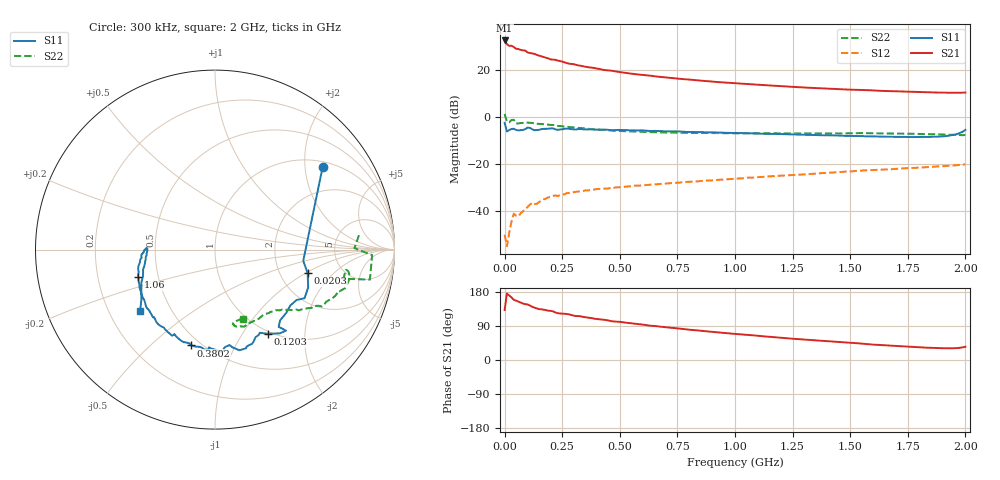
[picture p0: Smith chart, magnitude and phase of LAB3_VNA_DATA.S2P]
!Agilent Technologies,E5071C,MY46520295,B.13.20
!Date: Wed Mar 06 06:46:55 2024
!Data & Calibration Information:
!Freq	S11:SOLT2(ON)	S21:SOLT2(ON)	S12:SOLT2(ON)	S22:SOLT2(ON)
!PortZ  Port1:50+j0  Port2:50+j0
!Above PortZ is port z conversion or system Z0 setting when saving the data.
!When reading, reference impedance value at option line is always used.
# Hz S RI R 50
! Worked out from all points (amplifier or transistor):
!   201 points, 300 kHz to 2 GHz, reference 50 ohm
!   highest |S21| = 32.8 dB at 300 kHz (marker M1)
!   |S21| within 3 dB of that: start of sweep to 42.59 MHz
!   unconditionally stable (mu >= 1): 7.426 MHz to 24.06 MHz; 50.27 MHz to 50.61 MHz; 629.6 MHz to end of sweep
!   at 330.3 MHz: K = 0.71, MSG = 26.9 dB, |S12| = -31.7 dB
!   at 1 GHz: K = 1.19, MAG = 17.8 dB, |S12| = -26.3 dB
!   at 2 GHz: K = 1.00, MAG = 15.1 dB, |S12| = -20.1 dB
!   S11 on the Smith chart (normalised r, x): 300 kHz: 1.14, +2.48; 20.3 MHz: 2.85, -1.05; 120.3 MHz: 0.97, -1.31; 380.2 MHz: 0.44, -0.68; 1.06 GHz: 0.39, -0.15; 2 GHz: 0.33, -0.32
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300000  0.6002 0.4624  -29.18 32.68  0.00307 -6.26e-05  0.9855 0.6412
1.02985e7  0.4917 -0.0625  -36.34 2.877  0.001 0.00144  0.8019 0.0801
2.0297e7  0.5162 -0.1315  -32.98 5.572  0.0011 0.00319  0.7773 0.00829
3.02955e7  0.5192 -0.2102  -32.6 8.712  0.00117 0.00579  0.8756 -0.0309
4.0294e7  0.4991 -0.2708  -29.5 11.42  0.00407 0.00767  0.8629 -0.1673
5.02925e7  0.4547 -0.2805  -26.67 11.53  0.00556 0.00549  0.7158 -0.1622
8.0288e7  0.3626 -0.3943  -23.15 13.96  0.00474 0.00853  0.748 -0.1344
9.02865e7  0.3548 -0.4302  -22.29 14.34  0.00504 0.00973  0.7485 -0.1556
1.00285e8  0.3958 -0.4514  -20.26 13.4  0.00536 0.0108  0.7464 -0.17
1.20282e8  0.2954 -0.4689  -17.83 14.74  0.00803 0.0125  0.7242 -0.2154
1.502775e8  0.2256 -0.4879  -14.47 14.86  0.0078 0.0132  0.6805 -0.2431
2.0027e8  0.1736 -0.5496  -10.95 13.23  0.0114 0.0165  0.6201 -0.2901
2.302655e8  0.0806 -0.5319  -8.97 13.59  0.0125 0.0164  0.5751 -0.3127
3.40249e8  -0.0714 -0.5476  -4.972 11.27  0.0175 0.0197  0.4777 -0.335
3.80243e8  -0.1325 -0.5342  -3.993 10.77  0.019 0.0208  0.4474 -0.3352
4.702295e8  -0.2267 -0.4705  -1.997 9.59  0.0215 0.022  0.3979 -0.3353
6.701995e8  -0.3519 -0.3652  0.1904 7.327  0.0269 0.0258  0.3331 -0.3417
1.00015e9  -0.4254 -0.1789  1.911 4.95  0.036 0.032  0.2632 -0.3689
1.060141e9  -0.4272 -0.1536  2.06 4.628  0.0384 0.0339  0.2544 -0.3772
1.340099e9  -0.4122 -0.05  2.594 3.334  0.0481 0.0387  0.1967 -0.4057
1.67005e9  -0.3804 0.00927  2.843 2.23  0.0634 0.0434  0.1331 -0.426
2e9  -0.417 -0.3394  2.762 1.927  0.0766 0.0619  0.1588 -0.3869
